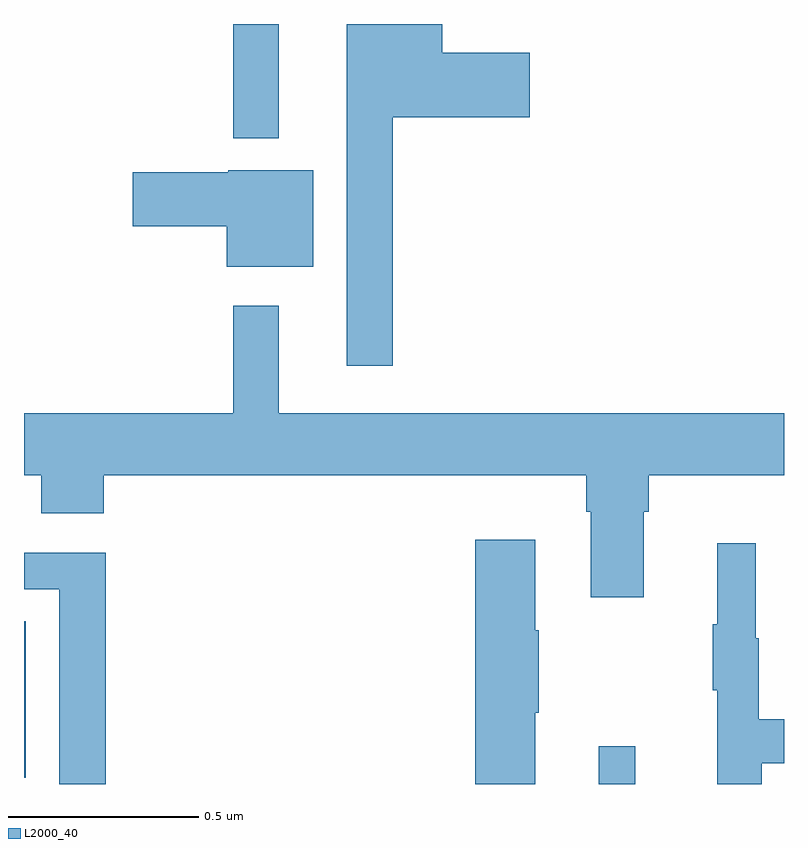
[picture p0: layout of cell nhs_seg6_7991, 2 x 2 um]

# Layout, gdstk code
import gdstk
lib = gdstk.Library(unit=1e-6, precision=1e-09)
def R(c, l, rs):  # rectangles x0, y0, x1, y1
    for r in rs: c.add(gdstk.rectangle(r[:2], r[2:], *l))
def P(c, l, *ps):  # polygons
    for p in ps: c.add(gdstk.Polygon(p, *l))
L2000_40 = (2000, 40)

nhs_seg6_7991 = lib.new_cell('nhs_seg6_7991')
R(nhs_seg6_7991, L2000_40, [(216.512,970.5,216.609,970.6), (215,970.516,215.005,970.928), (215.55,972.2,215.671,972.5)])
P(nhs_seg6_7991, L2000_40, [(215.971,972.254),(216.331,972.254),(216.331,972.424),(216.1,972.424),(216.1,972.5),(215.849,972.5),(215.849,971.601),(215.971,971.601)],
  [(215.761,972.115),(215.538,972.115),(215.538,972.11),(215.286,972.11),(215.286,971.968),(215.534,971.968),(215.534,971.861),(215.761,971.861)],
  [(216.631,971.216),(216.644,971.216),(216.644,971.312),(217,971.312),(217,971.476),(215.671,971.476),(215.671,971.758),(215.55,971.758),(215.55,971.476),(215,971.476),(215,971.312),(215.045,971.312),(215.045,971.213),(215.21,971.213),(215.21,971.312),(216.479,971.312),(216.479,971.216),(216.491,971.216),(216.491,970.992),(216.631,970.992)],
  [(216.346,970.687),(216.354,970.687),(216.354,970.904),(216.346,970.904),(216.346,971.143),(216.188,971.143),(216.188,970.5),(216.346,970.5)],
  [(216.941,970.554),(217,970.554),(217,970.67),(216.934,970.67),(216.934,970.884),(216.926,970.884),(216.926,971.134),(216.824,971.134),(216.824,970.921),(216.813,970.921),(216.813,970.747),(216.824,970.747),(216.824,970.5),(216.941,970.5)],
  [(215.215,971.109),(215,971.109),(215,971.013),(215.093,971.013),(215.093,970.5),(215.215,970.5)])

lib.write_gds('nhs_seg6_7991.gds')
